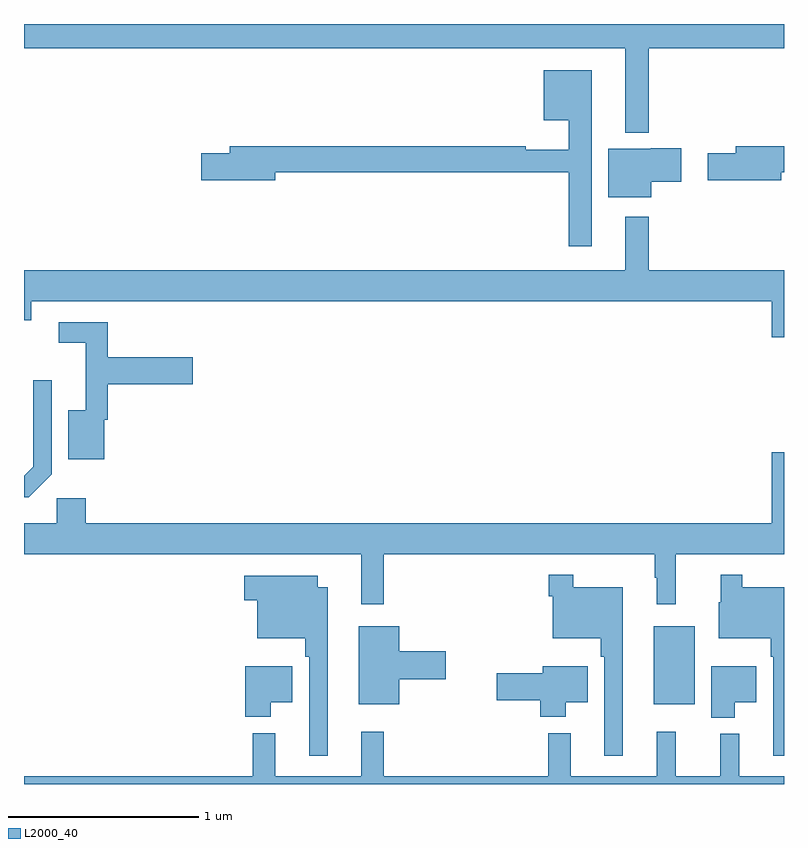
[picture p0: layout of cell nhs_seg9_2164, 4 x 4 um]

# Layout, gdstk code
import gdstk
lib = gdstk.Library(unit=1e-6, precision=1e-09)
def R(c, l, rs):  # rectangles x0, y0, x1, y1
    for r in rs: c.add(gdstk.rectangle(r[:2], r[2:], *l))
def P(c, l, *ps):  # polygons
    for p in ps: c.add(gdstk.Polygon(p, *l))
L2000_40 = (2000, 40)

nhs_seg9_2164 = lib.new_cell('nhs_seg9_2164')
R(nhs_seg9_2164, L2000_40, [(236.315,1240.919,236.53,1241.329)])
P(nhs_seg9_2164, L2000_40, [(236.287,1244.372),(237,1244.372),(237,1244.5),(233,1244.5),(233,1244.372),(236.165,1244.372),(236.165,1243.928),(236.287,1243.928)],
  [(235.987,1244.257),(235.736,1244.257),(235.736,1243.994),(235.866,1243.994),(235.866,1243.837),(235.64,1243.837),(235.64,1243.856),(234.083,1243.856),(234.083,1243.82),(233.934,1243.82),(233.934,1243.678),(234.322,1243.678),(234.322,1243.72),(235.866,1243.72),(235.866,1243.329),(235.987,1243.329)],
  [(236.986,1243.72),(237,1243.72),(237,1243.856),(236.747,1243.856),(236.747,1243.82),(236.598,1243.82),(236.598,1243.678),(236.986,1243.678)],
  [(236.302,1243.669),(236.458,1243.669),(236.458,1243.847),(236.298,1243.847),(236.298,1243.843),(236.075,1243.843),(236.075,1243.589),(236.302,1243.589)],
  [(237,1243.204),(236.287,1243.204),(236.287,1243.486),(236.165,1243.486),(236.165,1243.204),(233,1243.204),(233,1242.942),(233.038,1242.942),(233.038,1243.04),(236.936,1243.04),(236.936,1242.852),(237,1242.852)],
  [(233.422,1242.417),(233.441,1242.417),(233.441,1242.605),(233.887,1242.605),(233.887,1242.747),(233.441,1242.747),(233.441,1242.93),(233.184,1242.93),(233.184,1242.822),(233.324,1242.822),(233.324,1242.466),(233.234,1242.466),(233.234,1242.209),(233.422,1242.209)],
  [(233.145,1242.129),(233.145,1242.625),(233.049,1242.625),(233.049,1242.171),(233,1242.122),(233,1242.008),(233.024,1242.008)],
  [(234.893,1241.708),(236.319,1241.708),(236.319,1241.585),(236.33,1241.585),(236.33,1241.445),(236.43,1241.445),(236.43,1241.708),(237,1241.708),(237,1242.247),(236.936,1242.247),(236.936,1241.872),(233.324,1241.872),(233.324,1242.004),(233.172,1242.004),(233.172,1241.872),(233,1241.872),(233,1241.708),(234.775,1241.708),(234.775,1241.445),(234.893,1241.445)],
  [(236.152,1241.536),(235.891,1241.536),(235.891,1241.602),(235.762,1241.602),(235.762,1241.489),(235.782,1241.489),(235.782,1241.267),(236.035,1241.267),(236.035,1241.171),(236.055,1241.171),(236.055,1240.65),(236.152,1240.65)],
  [(237,1241.536),(236.779,1241.536),(236.779,1241.602),(236.668,1241.602),(236.668,1241.457),(236.657,1241.457),(236.657,1241.267),(236.931,1241.267),(236.931,1241.171),(236.943,1241.171),(236.943,1240.65),(237,1240.65)],
  [(234.598,1241.536),(234.547,1241.536),(234.547,1241.596),(234.159,1241.596),(234.159,1241.467),(234.227,1241.467),(234.227,1241.267),(234.481,1241.267),(234.481,1241.171),(234.501,1241.171),(234.501,1240.65),(234.598,1240.65)],
  [(234.976,1241.051),(235.219,1241.051),(235.219,1241.198),(234.976,1241.198),(234.976,1241.329),(234.761,1241.329),(234.761,1240.919),(234.976,1240.919)],
  [(234.298,1240.931),(234.412,1240.931),(234.412,1241.119),(234.164,1241.119),(234.164,1240.853),(234.298,1240.853)],
  [(235.852,1240.931),(235.966,1240.931),(235.966,1241.119),(235.73,1241.119),(235.73,1241.084),(235.488,1241.084),(235.488,1240.942),(235.718,1240.942),(235.718,1240.853),(235.852,1240.853)],
  [(236.74,1240.931),(236.854,1240.931),(236.854,1241.119),(236.618,1241.119),(236.618,1240.85),(236.74,1240.85)],
  [(237,1240.54),(236.765,1240.54),(236.765,1240.765),(236.665,1240.765),(236.665,1240.54),(236.43,1240.54),(236.43,1240.774),(236.33,1240.774),(236.33,1240.54),(235.877,1240.54),(235.877,1240.768),(235.759,1240.768),(235.759,1240.54),(234.893,1240.54),(234.893,1240.774),(234.776,1240.774),(234.776,1240.54),(234.323,1240.54),(234.323,1240.768),(234.205,1240.768),(234.205,1240.54),(233,1240.54),(233,1240.5),(237,1240.5)])

lib.write_gds('nhs_seg9_2164.gds')
